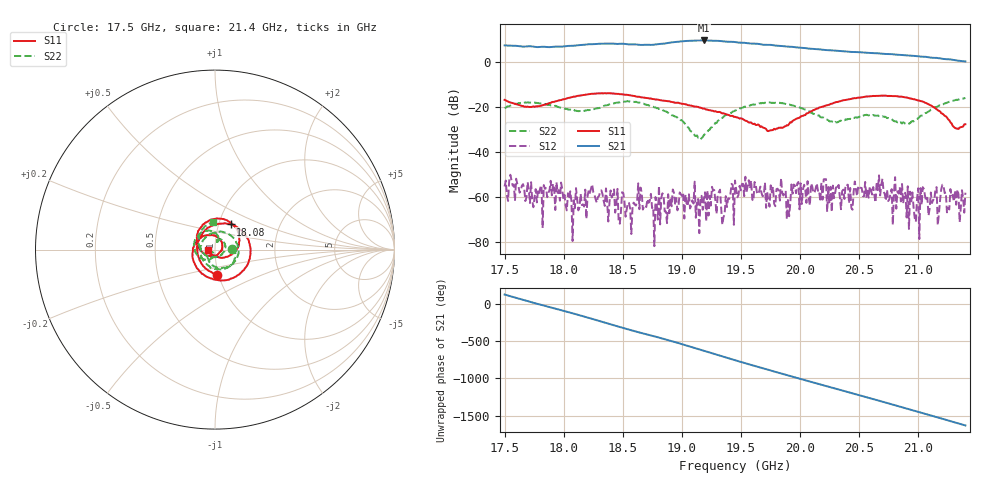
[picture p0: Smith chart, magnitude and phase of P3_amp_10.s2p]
!Created with skrf (http://scikit-rf.org).
# GHz S RI R 50.0
!freq ReS11 ImS11 ReS21 ImS21 ReS12 ImS12 ReS22 ImS22
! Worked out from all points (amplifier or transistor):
!   401 points, 17.5 GHz to 21.4 GHz, reference 50 ohm
!   highest |S21| = 9.4 dB at 19.19 GHz (marker M1)
!   |S21| within 3 dB of that: start of sweep to 19.96 GHz
!   unconditionally stable (mu >= 1): start of sweep to end of sweep
!   at 18.14 GHz: K = 174.66, MAG = 7.6 dB, |S12| = -58.6 dB
!   at 19.45 GHz: K = 78.48, MAG = 8.8 dB, |S12| = -52.7 dB
!   at 21.4 GHz: K = 387.39, MAG = 0.2 dB, |S12| = -58.1 dB
!   S11 on the Smith chart (normalised r, x): 17.5 GHz: 0.98, -0.28; 18.08 GHz: 1.14, +0.33; 21.4 GHz: 0.92, -0.00
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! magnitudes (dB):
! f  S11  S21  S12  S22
! 17.5 GHz  -17.0  7.2  -55.3  -20.6
! 17.96 GHz  -17.2  6.6  -57.0  -20.2
! 18.08 GHz  -15.7  7.0  -79.5  -21.5
! 18.15 GHz  -14.9  7.4  -63.6  -21.7
! 18.23 GHz  -14.2  7.8  -56.3  -21.4
! 18.46 GHz  -14.3  7.9  -56.4  -18.2
! 18.59 GHz  -15.1  7.7  -62.5  -17.8
! 18.64 GHz  -15.6  7.5  -65.4  -18.2
! 18.81 GHz  -17.0  7.9  -55.1  -21.0
! 19.19 GHz  -20.8  9.4  -60.7  -32.5
! 19.25 GHz  -21.7  9.3  -55.5  -29.1
! 19.36 GHz  -23.1  8.9  -67.6  -24.0
! 19.45 GHz  -24.4  8.7  -52.7  -21.7
! 19.74 GHz  -30.5  7.5  -64.3  -18.1
! 19.86 GHz  -29.1  6.9  -59.3  -18.5
! 19.9 GHz  -28.2  6.7  -60.6  -19.0
! 19.97 GHz  -25.4  6.4  -58.3  -19.8
! 20.1 GHz  -21.8  5.7  -55.2  -22.8
! 20.76 GHz  -15.2  3.4  -61.0  -25.1
! 20.99 GHz  -17.1  2.4  -61.0  -25.4
! 21.04 GHz  -17.7  2.2  -55.6  -23.7
! 21.4 GHz  -27.7  0.1  -58.1  -16.1
